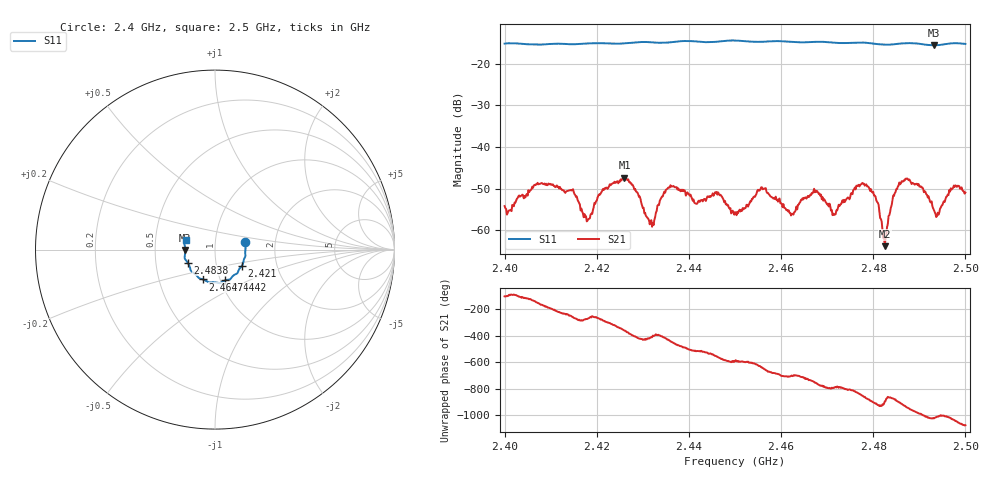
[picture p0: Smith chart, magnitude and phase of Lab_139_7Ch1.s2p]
# Hz S RI R
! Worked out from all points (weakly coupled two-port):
!   601 points, 2.4 GHz to 2.5 GHz, reference 50 ohm
!   highest |S21| = -47.37 dB at 2.426 GHz (marker M1); lowest = -63.8 dB at 2.4825 GHz (marker M2)
!   lowest |S11| = -15.6 dB at 2.4932 GHz (marker M3), VSWR 1.40, Z = 35.8 - j0.105 ohm
!   |S11| at or under -10 dB: start of sweep to end of sweep
!   S12 and S22 are empty: the file has one direction only
!   S11 on the Smith chart (normalised r, x): 2.4 GHz: 1.40, +0.12; 2.421 GHz: 1.33, -0.24; 2.4442 GHz: 1.05, -0.37; 2.4647 GHz: 0.83, -0.29; 2.4838 GHz: 0.73, -0.11; 2.5 GHz: 0.72, +0.08
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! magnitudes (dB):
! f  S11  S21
! 2.4 GHz  -15.2  -54.2
! 2.4077 GHz  -15.4  -48.8
! 2.4167 GHz  -15.3  -54.8
! 2.421 GHz  -15.1  -50.9
! 2.426 GHz  -15.2  -47.4
! 2.4318 GHz  -14.9  -57.5
! 2.4333 GHz  -15.0  -53.9
! 2.4362 GHz  -14.9  -49.5
! 2.4442 GHz  -14.9  -51.9
! 2.45 GHz  -14.5  -55.7
! 2.4562 GHz  -14.8  -50.1
! 2.4623 GHz  -14.8  -56.0
! 2.4647 GHz  -14.9  -52.3
! 2.4667 GHz  -14.8  -51.0
! 2.4717 GHz  -15.0  -56.2
! 2.4782 GHz  -15.0  -49.3
! 2.4825 GHz  -15.5  -63.8
! 2.4833 GHz  -15.5  -56.5
! 2.4838 GHz  -15.4  -54.5
! 2.4873 GHz  -15.1  -47.5
! 2.4932 GHz  -15.6  -55.1
! 2.5 GHz  -15.3  -50.9
